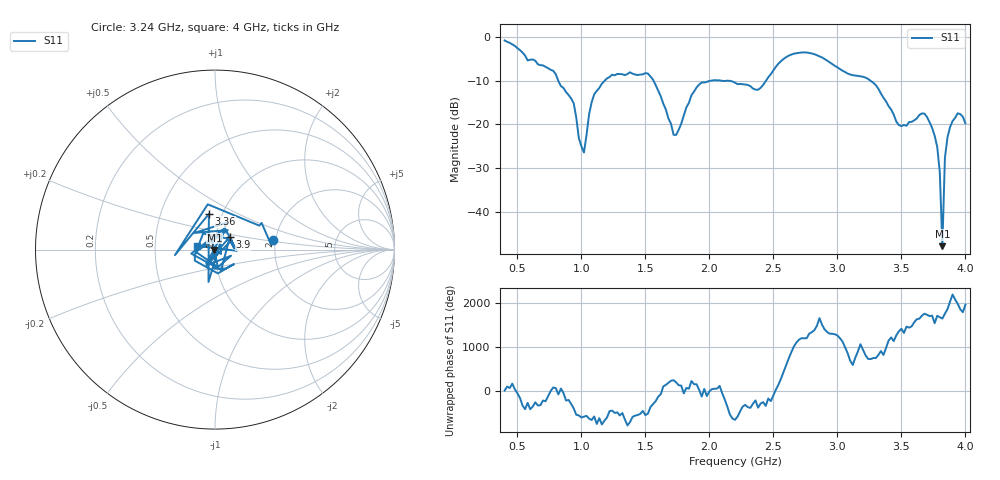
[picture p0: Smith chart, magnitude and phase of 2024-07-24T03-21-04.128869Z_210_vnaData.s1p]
!Created with skrf (http://scikit-rf.org).
# Hz S RI R 50.0
!freq ReS11 ImS11
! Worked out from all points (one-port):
!   181 points, 400 MHz to 4 GHz, reference 50 ohm
!   lowest |S11| = -47.7 dB at 3.82 GHz (marker M1), VSWR 1.01, Z = 49.6 - j0.207 ohm
!   |S11| at or under -10 dB: 818.7 MHz to 1.183 GHz (363.8 MHz wide, 36.4 % of centre); 1.563 GHz to 2.016 GHz (452.7 MHz wide, 25.3 % of centre); 3.258 GHz to end of sweep (the widest 3 of 4)
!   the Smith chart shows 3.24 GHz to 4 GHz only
!   S11 on the Smith chart (normalised r, x): 3.24 GHz: 1.95, +0.24; 3.36 GHz: 0.87, +0.36; 3.9 GHz: 1.17, +0.17; 4 GHz: 0.82, +0.03
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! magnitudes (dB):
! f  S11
! 400 MHz  -0.8
! 780 MHz  -7.8
! 860 MHz  -11.7
! 940 MHz  -15.2
! 980 MHz  -23.1
! 1.02 GHz  -26.4
! 1.06 GHz  -17.7
! 1.1 GHz  -13.1
! 1.3 GHz  -8.5
! 1.52 GHz  -8.4
! 1.72 GHz  -22.3
! 1.76 GHz  -21.2
! 1.92 GHz  -10.9
! 2.2 GHz  -10.5
! 2.38 GHz  -12.1
! 2.66 GHz  -3.9
! 3.1 GHz  -8.6
! 3.24 GHz  -9.6
! 3.36 GHz  -13.9
! 3.48 GHz  -20.1
! 3.56 GHz  -19.4
! 3.68 GHz  -17.5
! 3.76 GHz  -22.6
! 3.8 GHz  -30.9
! 3.82 GHz  -47.7
! 3.84 GHz  -27.6
! 3.9 GHz  -19.2
! 4 GHz  -19.7
